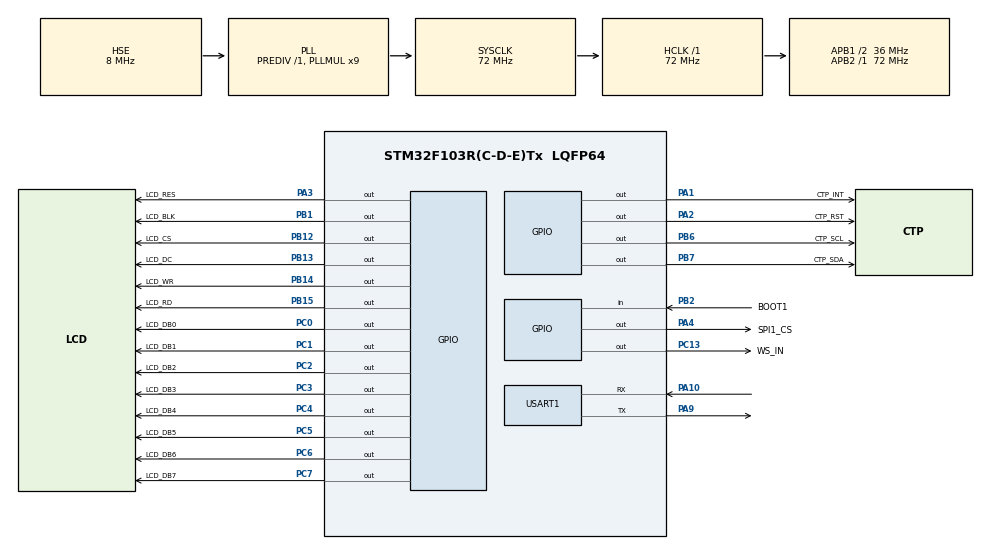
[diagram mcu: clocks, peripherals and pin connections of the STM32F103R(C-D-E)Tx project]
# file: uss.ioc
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Mcu.Family=STM32F1
Mcu.Name=STM32F103R(C-D-E)Tx
Mcu.Package=LQFP64
NVIC.PriorityGroup=NVIC_PRIORITYGROUP_4
NVIC.TIM6_IRQn=true\:0\:0\:false\:false\:true\:true\:true\:true
NVIC.USART1_IRQn=true\:2\:0\:true\:false\:true\:true\:true\:true
PA0-WKUP.Mode=SYS_WakeUp0
PA0-WKUP.Signal=SYS_WKUP
PA1.GPIO_Label=CTP_INT
PA1.GPIO_Speed=GPIO_SPEED_FREQ_HIGH
PA1.PinState=GPIO_PIN_SET
PA1.Signal=GPIO_Output
PA10.Mode=Asynchronous
PA10.Signal=USART1_RX
PA13.Mode=Serial_Wire
PA13.Signal=SYS_JTMS-SWDIO
PA14.Mode=Serial_Wire
PA14.Signal=SYS_JTCK-SWCLK
PA2.GPIO_Label=CTP_RST
PA2.GPIO_Speed=GPIO_SPEED_FREQ_HIGH
PA2.PinState=GPIO_PIN_SET
PA2.Signal=GPIO_Output
PA3.GPIO_Label=LCD_RES
PA3.GPIO_Speed=GPIO_SPEED_FREQ_HIGH
PA3.PinState=GPIO_PIN_SET
PA3.Signal=GPIO_Output
PA4.GPIO_Label=SPI1_CS
PA4.Signal=GPIO_Output
PA9.Mode=Asynchronous
PA9.Signal=USART1_TX
PB1.GPIO_Label=LCD_BLK
PB1.GPIO_Speed=GPIO_SPEED_FREQ_HIGH
PB1.PinState=GPIO_PIN_SET
PB1.Signal=GPIO_Output
PB12.GPIO_Label=LCD_CS
PB12.GPIO_Speed=GPIO_SPEED_FREQ_HIGH
PB12.PinState=GPIO_PIN_SET
PB12.Signal=GPIO_Output
PB13.GPIO_Label=LCD_DC
PB13.GPIO_Speed=GPIO_SPEED_FREQ_HIGH
PB13.PinState=GPIO_PIN_SET
PB13.Signal=GPIO_Output
PB14.GPIO_Label=LCD_WR
PB14.GPIO_Speed=GPIO_SPEED_FREQ_HIGH
PB14.PinState=GPIO_PIN_SET
PB14.Signal=GPIO_Output
PB15.GPIO_Label=LCD_RD
PB15.GPIO_Speed=GPIO_SPEED_FREQ_HIGH
PB15.PinState=GPIO_PIN_SET
PB15.Signal=GPIO_Output
PB2.GPIO_Label=BOOT1
PB2.Signal=GPIO_Input
PB6.GPIO_Label=CTP_SCL
PB6.GPIO_ModeDefaultOutputPP=GPIO_MODE_OUTPUT_PP
PB6.GPIO_PuPd=GPIO_NOPULL
PB6.GPIO_Speed=GPIO_SPEED_FREQ_HIGH
PB6.PinState=GPIO_PIN_SET
PB6.Signal=GPIO_Output
PB7.GPIO_Label=CTP_SDA
PB7.GPIO_ModeDefaultOutputPP=GPIO_MODE_OUTPUT_PP
PB7.GPIO_PuPd=GPIO_NOPULL
PB7.GPIO_Speed=GPIO_SPEED_FREQ_HIGH
PB7.PinState=GPIO_PIN_SET
PB7.Signal=GPIO_Output
PC0.GPIO_Label=LCD_DB0
PC0.GPIO_Speed=GPIO_SPEED_FREQ_HIGH
PC0.PinState=GPIO_PIN_SET
PC0.Signal=GPIO_Output
PC1.GPIO_Label=LCD_DB1
PC1.GPIO_Speed=GPIO_SPEED_FREQ_HIGH
PC1.PinState=GPIO_PIN_SET
PC1.Signal=GPIO_Output
PC13-TAMPER-RTC.GPIO_Label=WS_IN
PC13-TAMPER-RTC.GPIO_Speed=GPIO_SPEED_FREQ_HIGH
PC13-TAMPER-RTC.Signal=GPIO_Output
PC14-OSC32_IN.Mode=LSE-External-Oscillator
PC14-OSC32_IN.Signal=RCC_OSC32_IN
PC15-OSC32_OUT.Mode=LSE-External-Oscillator
PC15-OSC32_OUT.Signal=RCC_OSC32_OUT
PC2.GPIO_Label=LCD_DB2
PC2.GPIO_Speed=GPIO_SPEED_FREQ_HIGH
PC2.PinState=GPIO_PIN_SET
PC2.Signal=GPIO_Output
PC3.GPIO_Label=LCD_DB3
PC3.GPIO_Speed=GPIO_SPEED_FREQ_HIGH
PC3.PinState=GPIO_PIN_SET
PC3.Signal=GPIO_Output
PC4.GPIO_Label=LCD_DB4
PC4.GPIO_Speed=GPIO_SPEED_FREQ_HIGH
PC4.PinState=GPIO_PIN_SET
PC4.Signal=GPIO_Output
PC5.GPIO_Label=LCD_DB5
PC5.GPIO_Speed=GPIO_SPEED_FREQ_HIGH
PC5.PinState=GPIO_PIN_SET
PC5.Signal=GPIO_Output
PC6.GPIO_Label=LCD_DB6
PC6.GPIO_Speed=GPIO_SPEED_FREQ_HIGH
PC6.PinState=GPIO_PIN_SET
PC6.Signal=GPIO_Output
PC7.GPIO_Label=LCD_DB7
PC7.GPIO_Speed=GPIO_SPEED_FREQ_HIGH
PC7.PinState=GPIO_PIN_SET
PC7.Signal=GPIO_Output
PD0-OSC_IN.Mode=HSE-External-Oscillator
PD0-OSC_IN.Signal=RCC_OSC_IN
PD1-OSC_OUT.Mode=HSE-External-Oscillator
PD1-OSC_OUT.Signal=RCC_OSC_OUT
ProjectManager.HeapSize=0x200
ProjectManager.StackSize=0x400
ProjectManager.TargetToolchain=MDK-ARM V5.32
RCC.AHBFreq_Value=72000000
RCC.APB1CLKDivider=RCC_HCLK_DIV2
RCC.APB1Freq_Value=36000000
RCC.APB1TimFreq_Value=72000000
RCC.APB2Freq_Value=72000000
RCC.APB2TimFreq_Value=72000000
RCC.HCLKFreq_Value=72000000
RCC.PLLMUL=RCC_PLL_MUL9
RCC.PLLSourceVirtual=RCC_PLLSOURCE_HSE
RCC.SYSCLKFreq_VALUE=72000000
RCC.SYSCLKSource=RCC_SYSCLKSOURCE_PLLCLK
RCC.USBFreq_Value=48000000
RCC.USBPrescaler=RCC_USBCLKSOURCE_PLL_DIV1_5
TIM6.AutoReloadPreload=TIM_AUTORELOAD_PRELOAD_ENABLE
TIM6.Period=9
TIM6.Prescaler=7199
USART1.VirtualMode=VM_ASYNC
VP_TIM6_VS_ClockSourceINT.Mode=Enable_Timer
board=custom

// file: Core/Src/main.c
/* USER CODE BEGIN Header */
/**
  ******************************************************************************
  * @file           : main.c
  * @brief          : Main program body
  ******************************************************************************
  * @attention
  *
  * Copyright (c) 2023 STMicroelectronics.
  * All rights reserved.
  *
  * This software is licensed under terms that can be found in the LICENSE file
  * in the root directory of this software component.
  * If no LICENSE file comes with this software, it is provided AS-IS.
  *
  ******************************************************************************
  */
/* USER CODE END Header */
#include "main.h"
#include "tim.h"
#include "usart.h"
#include "gpio.h"

/* USER CODE BEGIN Includes */

#include <stdio.h>

#include "malloc.h"

#include "ws2812b.h"
//#include "lcd.h"
//extern _m_tp_dev tp_dev;

#include "at_user.h"
#include "lvgl.h"
#include "lv_port_disp.h"
#include "lv_port_indev.h"

/* USER CODE END Includes */

/* USER CODE BEGIN PV */

static lv_obj_t* scr = NULL;

/* USER CODE END PV */

void SystemClock_Config(void);
/* USER CODE BEGIN PFP */

void sw_event_cb(struct _lv_event_t * e)
{
	if (e->code == LV_EVENT_VALUE_CHANGED) {
		lv_obj_t* led = (lv_obj_t*)e->user_data;
		uint8_t led_state = lv_led_get_brightness(led);
		if (led_state <= LV_LED_BRIGHT_MIN) {
			lv_led_on(led);
		} else {
			lv_led_off(led);
		}
	}
}

/* USER CODE END PFP */

int main(void)
{

  /* MCU Configuration--------------------------------------------------------*/

  /* Reset of all peripherals, Initializes the Flash interface and the Systick. */
  HAL_Init();

  /* Configure the system clock */
  SystemClock_Config();

  /* Initialize all configured peripherals */
  MX_GPIO_Init();
  MX_USART1_UART_Init();
  MX_TIM6_Init();
  /* USER CODE BEGIN 2 */

  printf("\r\n");

  my_mem_init(SRAMIN);

  if (at_user_init() == AT_EOK) {
	  printf("at user initialize ok!\r\n");
  } else {
	  printf("at user initialize failed!\r\n");
  }

  ws2812b_init();
  ws2812b_clear_rgb_buff();
  ws2812b_send_node(ws_rgb);

  lv_init();
  lv_port_disp_init();
  lv_port_indev_init();
  scr = lv_scr_act();

  printf("STM32F103C8T6 initialize OK!\r\n");

  /* USER CODE END 2 */

  /* Infinite loop */
  /* USER CODE BEGIN WHILE */

  lv_obj_t* sw = lv_switch_create(scr);
  lv_obj_set_size(sw, 100, 50);
  lv_obj_set_pos(sw, 50, 50);
  lv_obj_t* led = lv_led_create(scr);
  lv_obj_set_size(led, 50, 50);
  lv_obj_set_pos(led, 50, 120);
  lv_led_off(led);
  lv_obj_add_event_cb(sw, sw_event_cb, LV_EVENT_VALUE_CHANGED, led);

//  LCD_Init();
//  LCD_Fill(0, 0, (u16)LCD_W-1, (u16)LCD_H-1, BLACK);
//  CST816S_Init();

  while (1)
  {
	  at.handleAuto(&at);

	  lv_timer_handler();

//	  tp_dev.scan(0);

	  HAL_Delay(1);

    /* USER CODE END WHILE */

  }
}

void SystemClock_Config(void)
{
  RCC_OscInitTypeDef RCC_OscInitStruct = {0};
  RCC_ClkInitTypeDef RCC_ClkInitStruct = {0};

  /** Initializes the RCC Oscillators according to the specified parameters
  * in the RCC_OscInitTypeDef structure.
  */
  RCC_OscInitStruct.OscillatorType = RCC_OSCILLATORTYPE_HSE;
  RCC_OscInitStruct.HSEState = RCC_HSE_ON;
  RCC_OscInitStruct.HSEPredivValue = RCC_HSE_PREDIV_DIV1;
  RCC_OscInitStruct.HSIState = RCC_HSI_ON;
  RCC_OscInitStruct.PLL.PLLState = RCC_PLL_ON;
  RCC_OscInitStruct.PLL.PLLSource = RCC_PLLSOURCE_HSE;
  RCC_OscInitStruct.PLL.PLLMUL = RCC_PLL_MUL9;
  if (HAL_RCC_OscConfig(&RCC_OscInitStruct) != HAL_OK)
  {
    Error_Handler();
  }

  /** Initializes the CPU, AHB and APB buses clocks
  */
  RCC_ClkInitStruct.ClockType = RCC_CLOCKTYPE_HCLK|RCC_CLOCKTYPE_SYSCLK
                              |RCC_CLOCKTYPE_PCLK1|RCC_CLOCKTYPE_PCLK2;
  RCC_ClkInitStruct.SYSCLKSource = RCC_SYSCLKSOURCE_PLLCLK;
  RCC_ClkInitStruct.AHBCLKDivider = RCC_SYSCLK_DIV1;
  RCC_ClkInitStruct.APB1CLKDivider = RCC_HCLK_DIV2;
  RCC_ClkInitStruct.APB2CLKDivider = RCC_HCLK_DIV1;

  if (HAL_RCC_ClockConfig(&RCC_ClkInitStruct, FLASH_LATENCY_2) != HAL_OK)
  {
    Error_Handler();
  }
}

/* USER CODE BEGIN 4 */

#define CPU_FREQUENCY_MHZ    72		// STM32时钟主频
void delay_us(__IO uint32_t delay)
{
    int last, curr, val;
    int temp;

    while (delay != 0)
    {
        temp = delay > 900 ? 900 : delay;
        last = SysTick->VAL;
        curr = last - CPU_FREQUENCY_MHZ * temp;
        if (curr >= 0)
        {
            do
            {
                val = SysTick->VAL;
            }
            while ((val < last) && (val >= curr));
        }
        else
        {
            curr += CPU_FREQUENCY_MHZ * 1000;
            do
            {
                val = SysTick->VAL;
            }
            while ((val <= last) || (val > curr));
        }
        delay -= temp;
    }
}

/* USER CODE END 4 */

void Error_Handler(void)
{
  __disable_irq();
  while (1)
  {
  }
}
